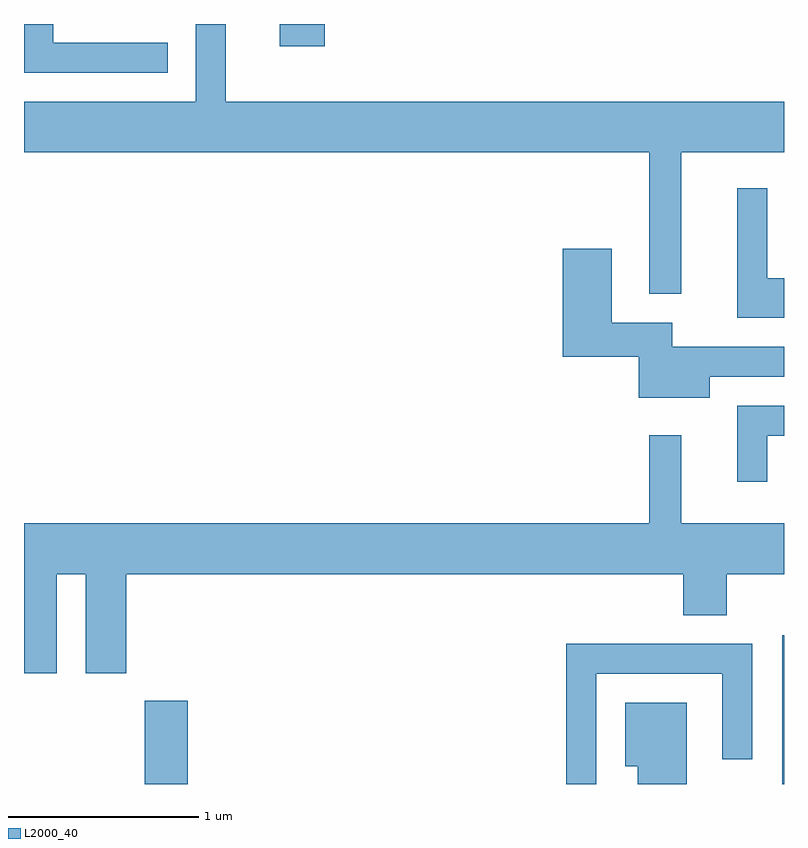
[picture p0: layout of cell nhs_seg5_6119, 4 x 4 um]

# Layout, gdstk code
import gdstk
lib = gdstk.Library(unit=1e-6, precision=1e-09)
def R(c, l, rs):  # rectangles x0, y0, x1, y1
    for r in rs: c.add(gdstk.rectangle(r[:2], r[2:], *l))
def P(c, l, *ps):  # polygons
    for p in ps: c.add(gdstk.Polygon(p, *l))
L2000_40 = (2000, 40)

nhs_seg5_6119 = lib.new_cell('nhs_seg5_6119')
R(nhs_seg5_6119, L2000_40, [(366.246,1520.072,366.474,1520.509), (369.601,1520.072,369.611,1520.854), (366.956,1523.956,367.194,1524.072)])
P(nhs_seg5_6119, L2000_40, [(369.069,1523.396),(369.611,1523.396),(369.611,1523.664),(366.674,1523.664),(366.674,1524.072),(366.516,1524.072),(366.516,1523.664),(365.611,1523.664),(365.611,1523.396),(368.901,1523.396),(368.901,1522.653),(369.069,1522.653)],
  [(366.368,1523.974),(365.764,1523.974),(365.764,1524.072),(365.611,1524.072),(365.611,1523.816),(366.368,1523.816)],
  [(369.611,1522.734),(369.524,1522.734),(369.524,1523.208),(369.366,1523.208),(369.366,1522.526),(369.611,1522.526)],
  [(369.219,1522.216),(369.611,1522.216),(369.611,1522.374),(369.024,1522.374),(369.024,1522.499),(368.704,1522.499),(368.704,1522.889),(368.446,1522.889),(368.446,1522.321),(368.846,1522.321),(368.846,1522.106),(369.219,1522.106)],
  [(369.524,1521.906),(369.611,1521.906),(369.611,1522.064),(369.366,1522.064),(369.366,1521.663),(369.524,1521.663)],
  [(365.784,1521.176),(365.936,1521.176),(365.936,1520.656),(366.149,1520.656),(366.149,1521.176),(369.081,1521.176),(369.081,1520.961),(369.309,1520.961),(369.309,1521.176),(369.611,1521.176),(369.611,1521.444),(369.069,1521.444),(369.069,1521.908),(368.901,1521.908),(368.901,1521.444),(365.611,1521.444),(365.611,1520.656),(365.784,1520.656)],
  [(368.624,1520.651),(369.286,1520.651),(369.286,1520.203),(369.444,1520.203),(369.444,1520.809),(368.466,1520.809),(368.466,1520.072),(368.624,1520.072)],
  [(369.099,1520.499),(368.776,1520.499),(368.776,1520.166),(368.841,1520.166),(368.841,1520.072),(369.099,1520.072)])

lib.write_gds('nhs_seg5_6119.gds')
